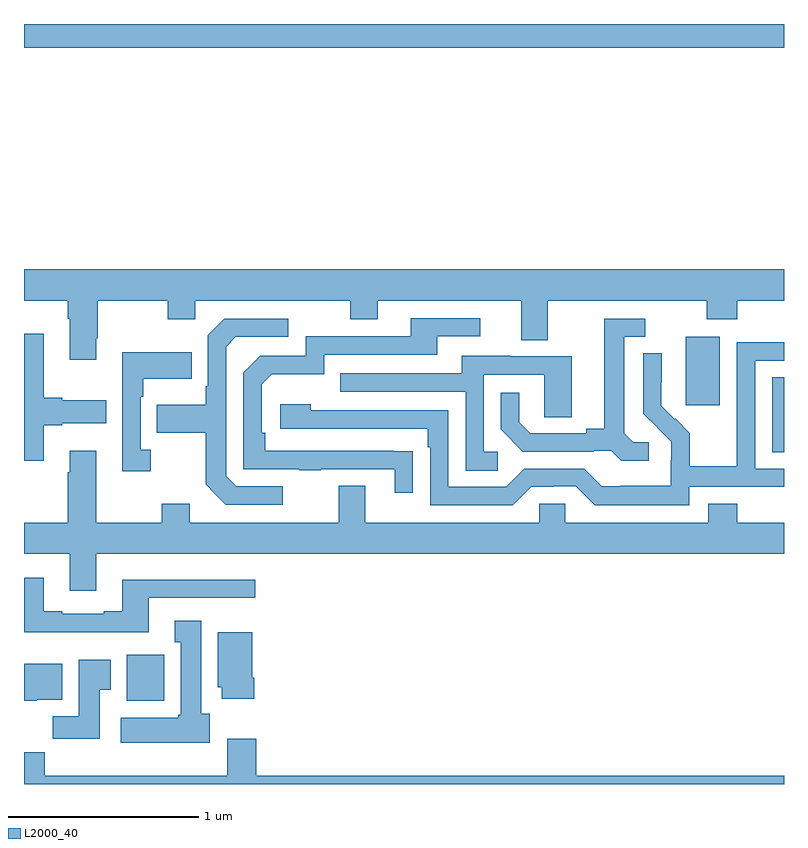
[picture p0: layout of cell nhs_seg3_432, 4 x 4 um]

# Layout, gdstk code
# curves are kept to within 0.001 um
import gdstk
lib = gdstk.Library(unit=1e-6, precision=1e-09)
def R(c, l, rs):  # rectangles x0, y0, x1, y1
    for r in rs: c.add(gdstk.rectangle(r[:2], r[2:], *l))
def P(c, l, *ps):  # polygons
    for p in ps: c.add(gdstk.Polygon(p, *l))
L2000_40 = (2000, 40)

nhs_seg3_432 = lib.new_cell('nhs_seg3_432')
R(nhs_seg3_432, L2000_40, [(133.541,670.838,133.738,671.08), (136.937,672.145,137,672.542), (136.484,672.393,136.663,672.754), (133,674.276,137,674.4)])
P(nhs_seg3_432, L2000_40, [(133.381,672.745),(133.389,672.745),(133.389,672.944),(133.756,672.944),(133.756,672.845),(133.902,672.845),(133.902,672.944),(134.716,672.944),(134.716,672.845),(134.863,672.845),(134.863,672.944),(135.617,672.944),(135.617,672.736),(135.757,672.736),(135.757,672.944),(136.594,672.944),(136.594,672.845),(136.754,672.845),(136.754,672.944),(137,672.944),(137,673.108),(133,673.108),(133,672.944),(133.229,672.944),(133.229,672.848),(133.241,672.848),(133.241,672.633),(133.381,672.633)],
  [(135.047,672.152),(134.27,672.153),(134.27,672.25),(134.25,672.25),(134.25,672.504),(134.303,672.557),(134.58,672.557),(134.58,672.66),(135.175,672.66),(135.175,672.756),(135.4,672.756),(135.4,672.852),(135.035,672.852),(135.035,672.756),(134.484,672.756),(134.484,672.654),(134.244,672.654),(134.154,672.564),(134.154,672.057),(134.449,672.057),(134.449,672.052),(134.561,672.052),(134.561,672.057),(134.951,672.057),(134.951,671.934),(135.047,671.934)],
  [(134.362,671.967),(134.118,671.967),(134.064,672.021),(134.064,672.702),(134.115,672.753),(134.392,672.753),(134.392,672.849),(134.055,672.849),(133.968,672.762),(133.968,672.493),(133.956,672.493),(133.956,672.397),(133.699,672.397),(133.699,672.25),(133.956,672.25),(133.956,671.977),(134.061,671.871),(134.362,671.871)],
  [(136.288,672.198),(136.206,672.198),(136.159,672.245),(136.159,672.753),(136.27,672.753),(136.27,672.849),(136.055,672.849),(136.055,672.269),(135.959,672.269),(135.959,672.246),(135.664,672.246),(135.607,672.303),(135.607,672.46),(135.51,672.46),(135.51,672.266),(135.626,672.15),(135.998,672.15),(135.998,672.153),(136.092,672.153),(136.144,672.101),(136.288,672.101)],
  [(133.105,672.287),(133.201,672.287),(133.201,672.299),(133.432,672.299),(133.432,672.421),(133.201,672.421),(133.201,672.434),(133.105,672.434),(133.105,672.769),(133,672.769),(133,672.102),(133.105,672.102)],
  [(136.5,671.964),(137,671.964),(137,672.06),(136.848,672.06),(136.848,672.627),(137,672.627),(137,672.726),(136.752,672.726),(136.752,672.296),(136.75,672.296),(136.75,672.073),(136.505,672.073),(136.505,672.247),(136.428,672.324),(136.425,672.321),(136.355,672.392),(136.356,672.668),(136.26,672.668),(136.26,672.35),(136.406,672.202),(136.406,672.105),(136.404,672.105),(136.404,671.971),(136.141,671.971),(136.141,671.967),(136.041,671.967),(135.948,672.06),(135.633,672.06),(135.537,671.964),(135.234,671.964),(135.234,672.366),(134.51,672.366),(134.51,672.4),(134.349,672.4),(134.349,672.27),(135.125,672.27),(135.125,672.173),(135.138,672.173),(135.138,671.868),(135.573,671.868),(135.669,671.964),(135.788,671.964),(135.788,671.967),(135.903,671.967),(136.003,671.867),(136.5,671.867)],
  [(133.666,672.158),(133.614,672.158),(133.614,672.437),(133.627,672.437),(133.627,672.533),(133.883,672.533),(133.883,672.673),(133.518,672.673),(133.518,672.045),(133.666,672.045)],
  [(135.493,672.15),(135.42,672.15),(135.42,672.555),(135.738,672.555),(135.738,672.331),(135.883,672.331),(135.883,672.651),(135.559,672.651),(135.559,672.655),(135.305,672.655),(135.305,672.561),(134.665,672.561),(134.665,672.465),(135.324,672.465),(135.324,672.049),(135.493,672.049)],
  [(133.381,671.612),(137,671.612),(137,671.776),(136.754,671.776),(136.754,671.875),(136.601,671.875),(136.601,671.776),(135.849,671.776),(135.849,671.874),(135.711,671.874),(135.711,671.776),(134.797,671.776),(134.797,671.971),(134.657,671.971),(134.657,671.776),(133.873,671.776),(133.873,671.875),(133.726,671.875),(133.726,671.776),(133.381,671.776),(133.381,672.154),(133.241,672.154),(133.241,672.041),(133.229,672.041),(133.229,671.776),(133,671.776),(133,671.612),(133.241,671.612),(133.241,671.418),(133.381,671.418)],
  [(133.657,671.379),(134.218,671.379),(134.218,671.476),(133.517,671.476),(133.517,671.308),(133.421,671.308),(133.421,671.295),(133.201,671.295),(133.201,671.308),(133.105,671.308),(133.105,671.485),(133,671.485),(133,671.198),(133.657,671.198)],
  [(133.978,670.77),(133.933,670.77),(133.933,671.26),(133.793,671.26),(133.793,671.147),(133.826,671.147),(133.826,670.764),(133.813,670.764),(133.813,670.75),(133.509,670.75),(133.509,670.616),(133.978,670.616)],
  [(134.213,670.96),(134.2,670.96),(134.2,671.2),(134.021,671.2),(134.021,670.908),(134.042,670.908),(134.042,670.848),(134.213,670.848)],
  [(133.399,670.897),(133.456,670.897),(133.456,671.053),(133.289,671.053),(133.289,670.756),(133.15,670.756),(133.15,670.638),(133.399,670.638)],
  [(133.068,670.844),(133.201,670.844),(133.201,671.032),(133,671.032),(133,670.838),(133.068,670.838)],
  [(137,670.444),(134.222,670.444),(134.222,670.639),(134.069,670.639),(134.069,670.444),(133.109,670.444),(133.109,670.568),(133,670.568),(133,670.4),(137,670.4)])

lib.write_gds('nhs_seg3_432.gds')
